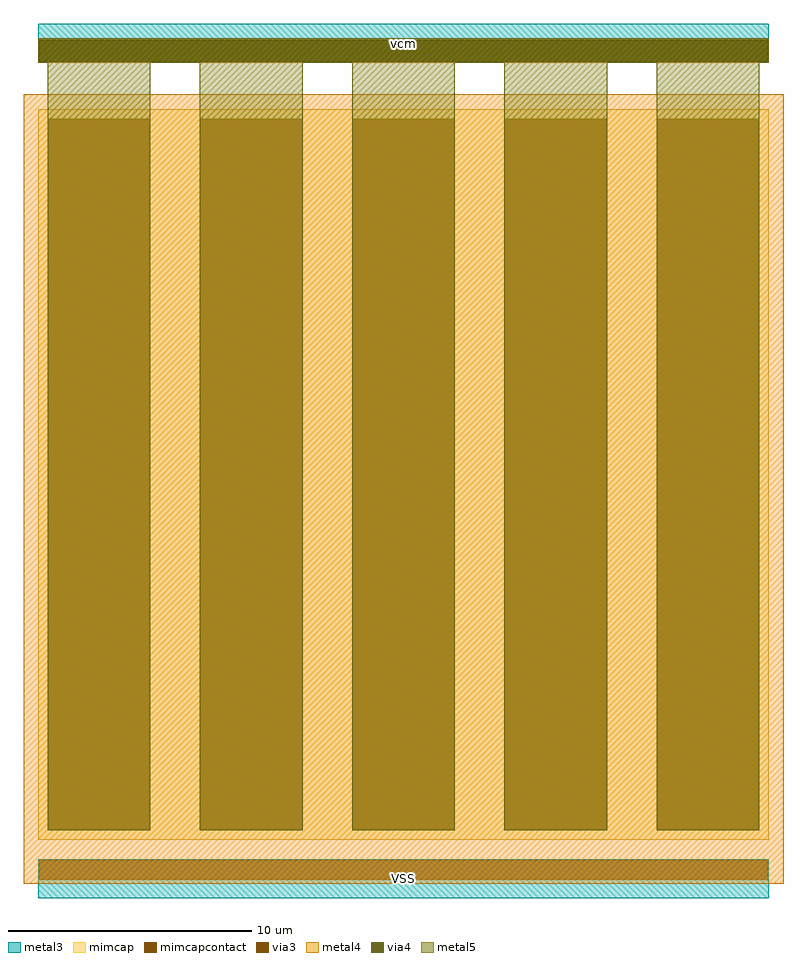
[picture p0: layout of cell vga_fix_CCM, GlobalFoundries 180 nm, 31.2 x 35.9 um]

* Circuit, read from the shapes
.subckt vga_fix_CCM vcm VSS
XC1 vcm VSS cap_mim_2f0fF c_width=30u c_length=30u
.ends

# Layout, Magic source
magic
tech gf180mcuD
magscale 1 10
<< metal3 >>
rect 0 -340 6000 -160
rect 0 6380 6000 6580
rect 0 6380 6000 6700
rect 0 6380 6000 6700
rect 0 -480 6000 -160
rect 0 -480 6000 -160
<< metal4 >>
rect -120 -360 6120 6120
rect 0 -340 6000 -160
rect 0 6380 6000 6580
rect 0 6380 6000 6580
<< mimcap >>
rect 0 0 6000 6000
<< metal5 >>
rect 78 78 922 6480
rect 1328 78 2172 6480
rect 2578 78 3422 6480
rect 3828 78 4672 6480
rect 5078 78 5922 6480
rect 0 6380 6000 6580
rect 0 6380 6000 6580
<< via3 >>
rect 10 -330 5990 -170
rect 10 6390 5990 6570
<< via4 >>
rect 10 6390 5990 6570
<< mimcapcontact >>
rect 78 78 922 5922
rect 1328 78 2172 5922
rect 2578 78 3422 5922
rect 3828 78 4672 5922
rect 5078 78 5922 5922
<< labels >>
flabel metal3 s 0 6380 6000 6700 0 FreeSans 80 0 0 0 vcm
port 1 nsew signal bidirectional
flabel metal3 s 0 -480 6000 -160 0 FreeSans 80 0 0 0 VSS
port 2 nsew signal bidirectional
<< end >>
